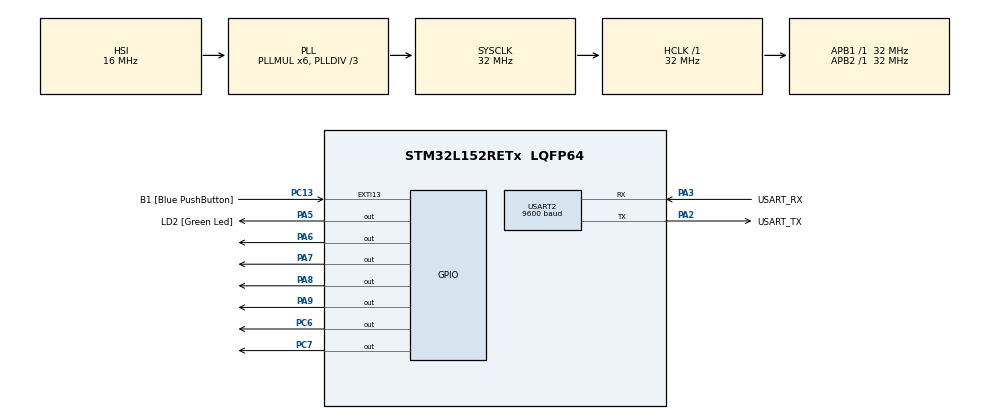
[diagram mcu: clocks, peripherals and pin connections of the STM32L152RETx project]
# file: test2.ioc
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FREERTOS.Queues01=sendToQueue,2,uint16_t,0,Dynamic,NULL,NULL
FREERTOS.Tasks01=defaultTask,0,128,StartDefaultTask,Default,NULL,Dynamic,NULL,NULL;task2,1,128,StartTask02,Default,NULL,Dynamic,NULL,NULL;task3,2,128,StartTask03,Default,NULL,Dynamic,NULL,NULL;taskRT,3,128,StartTaskRT,Default,NULL,Dynamic,NULL,NULL;taskn1,-1,128,StartTaskN1,Default,NULL,Dynamic,NULL,NULL;taskn2,-2,128,StartTaskN2,Default,NULL,Dynamic,NULL,NULL;taskIdle,-3,128,StartTaskIdle,Default,NULL,Dynamic,NULL,NULL
FREERTOS.configCHECK_FOR_STACK_OVERFLOW=1
FREERTOS.configTOTAL_HEAP_SIZE=4500
FREERTOS.configUSE_MALLOC_FAILED_HOOK=1
FREERTOS.configUSE_NEWLIB_REENTRANT=1
Mcu.Family=STM32L1
Mcu.Name=STM32L152RETx
Mcu.Package=LQFP64
NVIC.PriorityGroup=NVIC_PRIORITYGROUP_4
NVIC.TIM2_IRQn=true\:15\:0\:false\:false\:true\:false\:false\:true\:true
NVIC.TimeBase=TIM2_IRQn
NVIC.TimeBaseIP=TIM2
PA13.GPIO_Label=TMS
PA13.Mode=Trace_Asynchronous_SW
PA13.Signal=SYS_JTMS-SWDIO
PA14.GPIO_Label=TCK
PA14.Mode=Trace_Asynchronous_SW
PA14.Signal=SYS_JTCK-SWCLK
PA2.GPIO_Label=USART_TX
PA2.Mode=Asynchronous
PA2.Signal=USART2_TX
PA3.GPIO_Label=USART_RX
PA3.Mode=Asynchronous
PA3.Signal=USART2_RX
PA5.GPIO_Label=LD2 [Green Led]
PA5.Signal=GPIO_Output
PA6.Signal=GPIO_Output
PA7.Signal=GPIO_Output
PA8.Signal=GPIO_Output
PA9.Signal=GPIO_Output
PB3.GPIO_Label=SWO
PB3.Mode=Trace_Asynchronous_SW
PB3.Signal=SYS_JTDO-TRACESWO
PC13-WKUP2.GPIO_Label=B1 [Blue PushButton]
PC13-WKUP2.Signal=GPXTI13
PC14-OSC32_IN.Mode=LSE-External-Oscillator
PC14-OSC32_IN.Signal=RCC_OSC32_IN
PC15-OSC32_OUT.Mode=LSE-External-Oscillator
PC15-OSC32_OUT.Signal=RCC_OSC32_OUT
PC6.Signal=GPIO_Output
PC7.Signal=GPIO_Output
PH0-OSC_IN.Mode=HSE-External-Clock-Source
PH0-OSC_IN.Signal=RCC_OSC_IN
PH1-OSC_OUT.Signal=RCC_OSC_OUT
ProjectManager.HeapSize=0x200
ProjectManager.StackSize=0x400
ProjectManager.TargetToolchain=STM32CubeIDE
RCC.48MHZClocksFreq_Value=48000000
RCC.AHBFreq_Value=32000000
RCC.APB1Freq_Value=32000000
RCC.APB1TimFreq_Value=32000000
RCC.APB2Freq_Value=32000000
RCC.APB2TimFreq_Value=32000000
RCC.HCLKFreq_Value=32000000
RCC.HSE_VALUE=8000000
RCC.HSI_VALUE=16000000
RCC.MSI_VALUE=2097000
RCC.PLLDIV=RCC_PLL_DIV3
RCC.PLLMUL=RCC_PLL_MUL6
RCC.RTCClockSelectionVirtual=RCC_RTCCLKSOURCE_LSE
RCC.SYSCLKFreq_VALUE=32000000
RCC.SYSCLKSource=RCC_SYSCLKSOURCE_PLLCLK
RCC.USBOutput=48000000
RCC.VCOOutputFreq_Value=96000000
USART2.BaudRate=9600
USART2.VirtualMode=VM_ASYNC
VP_FREERTOS_VS_CMSIS_V1.Mode=CMSIS_V1
VP_SYS_VS_tim2.Mode=TIM2
board=NUCLEO-L152RE

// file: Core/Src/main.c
/* USER CODE BEGIN Header */
/**
  ******************************************************************************
  * @file           : main.c
  * @brief          : Main program body
  ******************************************************************************
  * @attention
  *
  * Copyright (c) 2023 STMicroelectronics.
  * All rights reserved.
  *
  * This software is licensed under terms that can be found in the LICENSE file
  * in the root directory of this software component.
  * If no LICENSE file comes with this software, it is provided AS-IS.
  *
  ******************************************************************************
  */
/* USER CODE END Header */
#include "main.h"
#include "cmsis_os.h"

/* USER CODE BEGIN Includes */
#include <stdio.h>
#include <stdbool.h>
#include <stdlib.h>
/* USER CODE END Includes */

UART_HandleTypeDef huart2;

osThreadId defaultTaskHandle;
osThreadId task2Handle;
osThreadId task3Handle;
osThreadId taskRTHandle;
osThreadId taskn1Handle;
osThreadId taskn2Handle;
osThreadId taskIdleHandle;
osMessageQId sendToQueueHandle;

void SystemClock_Config(void);
static void MX_GPIO_Init(void);
static void MX_USART2_UART_Init(void);
void StartDefaultTask(void const * argument);
void StartTask02(void const * argument);
void StartTask03(void const * argument);
void StartTaskRT(void const * argument);
void StartTaskN1(void const * argument);
void StartTaskN2(void const * argument);
void StartTaskIdle(void const * argument);

/* USER CODE BEGIN PFP */
void vApplicationMallocFailedHook( void );

/* USER CODE END PFP */

/* USER CODE BEGIN 0 */
int _write(int file, char *ptr, int len){
	for(int i = 0; i < len; i++) {
		ITM_SendChar(*ptr++);
	}
	return len;
}

float readTemperatureSensor() {
	float temp = (float)rand() / ((float)RAND_MAX / 100);
	return temp;
}

bool checkNetworkQueue() {
	int random_bit = rand() % 2;
    return (bool)random_bit;
}

void vApplicationMallocFailedHook() {
	printf("\r\nHello, World from vApplicationMallocFailedHook!\r\n");
	//for(;;){
		//Wait here. Find the fire.
	//}
}
/* USER CODE END 0 */

int main(void)
{
  /* USER CODE BEGIN 1 */
	  // For eventual USART comm
	  //char buf[100];
  /* USER CODE END 1 */

  /* MCU Configuration--------------------------------------------------------*/

  /* Reset of all peripherals, Initializes the Flash interface and the Systick. */
  HAL_Init();

  /* Configure the system clock */
  SystemClock_Config();

  /* Initialize all configured peripherals */
  MX_GPIO_Init();
  MX_USART2_UART_Init();

  /* Create the queue(s) */
  /* definition and creation of sendToQueue */
  osMessageQDef(sendToQueue, 2, uint16_t);
  sendToQueueHandle = osMessageCreate(osMessageQ(sendToQueue), NULL);

  /* Create the thread(s) */
  /* definition and creation of defaultTask */
  osThreadDef(defaultTask, StartDefaultTask, osPriorityNormal, 0, 128);
  defaultTaskHandle = osThreadCreate(osThread(defaultTask), NULL);

  /* definition and creation of task2 */
  osThreadDef(task2, StartTask02, osPriorityAboveNormal, 0, 128);
  task2Handle = osThreadCreate(osThread(task2), NULL);

  /* definition and creation of task3 */
  osThreadDef(task3, StartTask03, osPriorityHigh, 0, 128);
  task3Handle = osThreadCreate(osThread(task3), NULL);

  /* definition and creation of taskRT */
  osThreadDef(taskRT, StartTaskRT, osPriorityRealtime, 0, 128);
  taskRTHandle = osThreadCreate(osThread(taskRT), NULL);

  /* definition and creation of taskn1 */
  osThreadDef(taskn1, StartTaskN1, osPriorityBelowNormal, 0, 128);
  taskn1Handle = osThreadCreate(osThread(taskn1), NULL);

  /* definition and creation of taskn2 */
  osThreadDef(taskn2, StartTaskN2, osPriorityLow, 0, 128);
  taskn2Handle = osThreadCreate(osThread(taskn2), NULL);

  /* definition and creation of taskIdle */
  osThreadDef(taskIdle, StartTaskIdle, osPriorityIdle, 0, 128);
  taskIdleHandle = osThreadCreate(osThread(taskIdle), NULL);

  /* Start scheduler */
  osKernelStart();
  /* We should never get here as control is now taken by the scheduler */
  /* Infinite loop */
  /* USER CODE BEGIN WHILE */
  //osThreadTerminate();
  while (1)
  {
	  // NOTE: We will never get here, we are choosing not to use the main
	  // thread for any tasks beyond thread setup and system start.
    /* USER CODE END WHILE */

  }
}

void SystemClock_Config(void)
{
  RCC_OscInitTypeDef RCC_OscInitStruct = {0};
  RCC_ClkInitTypeDef RCC_ClkInitStruct = {0};

  /** Configure the main internal regulator output voltage
  */
  __HAL_PWR_VOLTAGESCALING_CONFIG(PWR_REGULATOR_VOLTAGE_SCALE1);

  /** Initializes the RCC Oscillators according to the specified parameters
  * in the RCC_OscInitTypeDef structure.
  */
  RCC_OscInitStruct.OscillatorType = RCC_OSCILLATORTYPE_HSI;
  RCC_OscInitStruct.HSIState = RCC_HSI_ON;
  RCC_OscInitStruct.HSICalibrationValue = RCC_HSICALIBRATION_DEFAULT;
  RCC_OscInitStruct.PLL.PLLState = RCC_PLL_ON;
  RCC_OscInitStruct.PLL.PLLSource = RCC_PLLSOURCE_HSI;
  RCC_OscInitStruct.PLL.PLLMUL = RCC_PLL_MUL6;
  RCC_OscInitStruct.PLL.PLLDIV = RCC_PLL_DIV3;
  if (HAL_RCC_OscConfig(&RCC_OscInitStruct) != HAL_OK)
  {
    Error_Handler();
  }

  /** Initializes the CPU, AHB and APB buses clocks
  */
  RCC_ClkInitStruct.ClockType = RCC_CLOCKTYPE_HCLK|RCC_CLOCKTYPE_SYSCLK
                              |RCC_CLOCKTYPE_PCLK1|RCC_CLOCKTYPE_PCLK2;
  RCC_ClkInitStruct.SYSCLKSource = RCC_SYSCLKSOURCE_PLLCLK;
  RCC_ClkInitStruct.AHBCLKDivider = RCC_SYSCLK_DIV1;
  RCC_ClkInitStruct.APB1CLKDivider = RCC_HCLK_DIV1;
  RCC_ClkInitStruct.APB2CLKDivider = RCC_HCLK_DIV1;

  if (HAL_RCC_ClockConfig(&RCC_ClkInitStruct, FLASH_LATENCY_1) != HAL_OK)
  {
    Error_Handler();
  }
}

static void MX_USART2_UART_Init(void)
{

  huart2.Instance = USART2;
  huart2.Init.BaudRate = 9600;
  huart2.Init.WordLength = UART_WORDLENGTH_8B;
  huart2.Init.StopBits = UART_STOPBITS_1;
  huart2.Init.Parity = UART_PARITY_NONE;
  huart2.Init.Mode = UART_MODE_TX_RX;
  huart2.Init.HwFlowCtl = UART_HWCONTROL_NONE;
  huart2.Init.OverSampling = UART_OVERSAMPLING_16;
  if (HAL_UART_Init(&huart2) != HAL_OK)
  {
    Error_Handler();
  }

}

static void MX_GPIO_Init(void)
{
  GPIO_InitTypeDef GPIO_InitStruct = {0};

  /* GPIO Ports Clock Enable */
  __HAL_RCC_GPIOC_CLK_ENABLE();
  __HAL_RCC_GPIOH_CLK_ENABLE();
  __HAL_RCC_GPIOA_CLK_ENABLE();
  __HAL_RCC_GPIOB_CLK_ENABLE();

  /*Configure GPIO pin Output Level */
  HAL_GPIO_WritePin(GPIOA, LD2_Pin|GPIO_PIN_6|GPIO_PIN_7|GPIO_PIN_8
                          |GPIO_PIN_9, GPIO_PIN_RESET);

  /*Configure GPIO pin Output Level */
  HAL_GPIO_WritePin(GPIOC, GPIO_PIN_6|GPIO_PIN_7, GPIO_PIN_RESET);

  /*Configure GPIO pin : B1_Pin */
  GPIO_InitStruct.Pin = B1_Pin;
  GPIO_InitStruct.Mode = GPIO_MODE_IT_RISING;
  GPIO_InitStruct.Pull = GPIO_NOPULL;
  HAL_GPIO_Init(B1_GPIO_Port, &GPIO_InitStruct);

  /*Configure GPIO pins : LD2_Pin PA6 PA7 PA8
                           PA9 */
  GPIO_InitStruct.Pin = LD2_Pin|GPIO_PIN_6|GPIO_PIN_7|GPIO_PIN_8
                          |GPIO_PIN_9;
  GPIO_InitStruct.Mode = GPIO_MODE_OUTPUT_PP;
  GPIO_InitStruct.Pull = GPIO_NOPULL;
  GPIO_InitStruct.Speed = GPIO_SPEED_FREQ_LOW;
  HAL_GPIO_Init(GPIOA, &GPIO_InitStruct);

  /*Configure GPIO pins : PC6 PC7 */
  GPIO_InitStruct.Pin = GPIO_PIN_6|GPIO_PIN_7;
  GPIO_InitStruct.Mode = GPIO_MODE_OUTPUT_PP;
  GPIO_InitStruct.Pull = GPIO_NOPULL;
  GPIO_InitStruct.Speed = GPIO_SPEED_FREQ_LOW;
  HAL_GPIO_Init(GPIOC, &GPIO_InitStruct);

}

void StartDefaultTask(void const * argument)
{
  /* USER CODE BEGIN 5 */
  /* Infinite loop */
	//uint16_t msg = 0;
	//uint16_t *msgP = &msg;
  for(;;)
  {
	  	//HAL_GPIO_TogglePin(LD2_GPIO_Port, LD2_Pin);
	    //TODO: Respond to user input on blue joystick button
	  	int stateOfPushButton = HAL_GPIO_ReadPin(GPIOC, GPIO_PIN_13);
	  	//msg = stateOfPushButton;
	  	HAL_GPIO_WritePin(LD2_GPIO_Port, LD2_Pin, stateOfPushButton);

	  	//xQueueSendToBack(sendToQueueHandle, msgP, 0);
	  	osDelay(30);
	  	printf("\r\nHello, World Default Task!\r\n");
  }
  /* USER CODE END 5 */
}

void StartTask02(void const * argument)
{
  /* USER CODE BEGIN StartTask02 */
  /* Infinite loop */
  for(;;)
  {
	  	HAL_GPIO_TogglePin(GPIOA, GPIO_PIN_9);
	  	//TODO: Perform a complex calculation, time intensive
	  	osDelay(70);
	  	printf("\r\nHello, World from task 2!\r\n");
  }
  /* USER CODE END StartTask02 */
}

void StartTask03(void const * argument)
{
  /* USER CODE BEGIN StartTask03 */
  /* Infinite loop */
  for(;;)
  {
	    //TODO System monitor Task, alert failure, attempt restart
		printf("\r\nHello, World from task 3!\r\n");
	    osDelay(1000);
  }
  /* USER CODE END StartTask03 */
}

void StartTaskRT(void const * argument)
{
  /* USER CODE BEGIN StartTaskRT */
  /* Infinite loop */
  static long RTcounter = 0;

  for(;;)
  {
	  	//Emergency Shutdown Mock
	  	//Delay 5 seconds, then fake a failure
		if(RTcounter > 10){
			//osKernelStop(); vTaskEndScheduler only been implemented for the x86 Real Mode PC port
			printf("\r\nHello, World from RT! Emergency Shutdown required...\r\n");
			for(;;){
				//Mock Shutdown...
			}
		}
		RTcounter++;
		osDelay(1000);
  }
  /* USER CODE END StartTaskRT */
}

void StartTaskN1(void const * argument)
{
  /* USER CODE BEGIN StartTaskN1 */
  /* Infinite loop */
//  for(;;)
//  {
//	  //Fake network, respond to messages if they exist
//	  //bool itemExistsToProcess = checkNetworkQueue();
//	  uint16_t buf = 0;
//	  uint16_t *bufP = &buf;
//	  //xQueueReceive(sendToQueueHandle, bufP, 0);
//      printf("\r\nHello, World from task N1! Task Processed?\r\n");
//
//	  if (*bufP) {
//	      printf("\r\nHello, World from task N1! Task Processed. %d\r\n", *bufP);
//	      osDelay(24);
//	  } else {
//	      printf("\r\nHello, World from task N1! No task to process.%d\r\n", *bufP);
//	      osDelay(12);
//	  }
//  }
	  for(;;)
	  {
		//Read fake temp sensor
		//float temp = 20;//readTemperatureSensor();
		//printf("\r\nHello, World from task N2!, temp is %f\r\n", temp);
	    osDelay(50);
	  }
  /* USER CODE END StartTaskN1 */
}

void StartTaskN2(void const * argument)
{
  /* USER CODE BEGIN StartTaskN2 */
  /* Infinite loop */
  for(;;)
  {
	//Read fake temp sensor
	//float temp = readTemperatureSensor();
	//printf("\r\nHello, World from task N2!, temp is %f\r\n", temp);
    osDelay(500);
  }
  /* USER CODE END StartTaskN2 */
}

void StartTaskIdle(void const * argument)
{
  /* USER CODE BEGIN StartTaskIdle */
  /* Infinite loop */
  //static long idleTimeCounter = 0;

  for(;;)
  {
		printf("\r\nHello, World from task Idle!\r\n");
		//idleTimeCounter++;
	    osDelay(1);
  }
  /* USER CODE END StartTaskIdle */
}

void HAL_TIM_PeriodElapsedCallback(TIM_HandleTypeDef *htim)
{
  if (htim->Instance == TIM2) {
    HAL_IncTick();
  }
}

void Error_Handler(void)
{
  __disable_irq();
  while (1)
  {
  }
}

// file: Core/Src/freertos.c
/* USER CODE BEGIN Header */
/**
  ******************************************************************************
  * File Name          : freertos.c
  * Description        : Code for freertos applications
  ******************************************************************************
  * @attention
  *
  * Copyright (c) 2023 STMicroelectronics.
  * All rights reserved.
  *
  * This software is licensed under terms that can be found in the LICENSE file
  * in the root directory of this software component.
  * If no LICENSE file comes with this software, it is provided AS-IS.
  *
  ******************************************************************************
  */
/* USER CODE END Header */

#include "FreeRTOS.h"
#include "task.h"
#include "main.h"

/* GetIdleTaskMemory prototype (linked to static allocation support) */
void vApplicationGetIdleTaskMemory( StaticTask_t **ppxIdleTaskTCBBuffer, StackType_t **ppxIdleTaskStackBuffer, uint32_t *pulIdleTaskStackSize );

/* Hook prototypes */
void vApplicationStackOverflowHook(xTaskHandle xTask, signed char *pcTaskName);
void vApplicationMallocFailedHook(void);

/* USER CODE BEGIN 4 */
__weak void vApplicationStackOverflowHook(xTaskHandle xTask, signed char *pcTaskName)
{
   /* Run time stack overflow checking is performed if
   configCHECK_FOR_STACK_OVERFLOW is defined to 1 or 2. This hook function is
   called if a stack overflow is detected. */
}
/* USER CODE END 4 */

/* USER CODE BEGIN 5 */
__weak void vApplicationMallocFailedHook(void)
{
   /* vApplicationMallocFailedHook() will only be called if
   configUSE_MALLOC_FAILED_HOOK is set to 1 in FreeRTOSConfig.h. It is a hook
   function that will get called if a call to pvPortMalloc() fails.
   pvPortMalloc() is called internally by the kernel whenever a task, queue,
   timer or semaphore is created. It is also called by various parts of the
   demo application. If heap_1.c or heap_2.c are used, then the size of the
   heap available to pvPortMalloc() is defined by configTOTAL_HEAP_SIZE in
   FreeRTOSConfig.h, and the xPortGetFreeHeapSize() API function can be used
   to query the size of free heap space that remains (although it does not
   provide information on how the remaining heap might be fragmented). */
}
/* USER CODE END 5 */

/* USER CODE BEGIN GET_IDLE_TASK_MEMORY */
static StaticTask_t xIdleTaskTCBBuffer;
static StackType_t xIdleStack[configMINIMAL_STACK_SIZE];

void vApplicationGetIdleTaskMemory( StaticTask_t **ppxIdleTaskTCBBuffer, StackType_t **ppxIdleTaskStackBuffer, uint32_t *pulIdleTaskStackSize )
{
  *ppxIdleTaskTCBBuffer = &xIdleTaskTCBBuffer;
  *ppxIdleTaskStackBuffer = &xIdleStack[0];
  *pulIdleTaskStackSize = configMINIMAL_STACK_SIZE;
  /* place for user code */
}
/* USER CODE END GET_IDLE_TASK_MEMORY */
